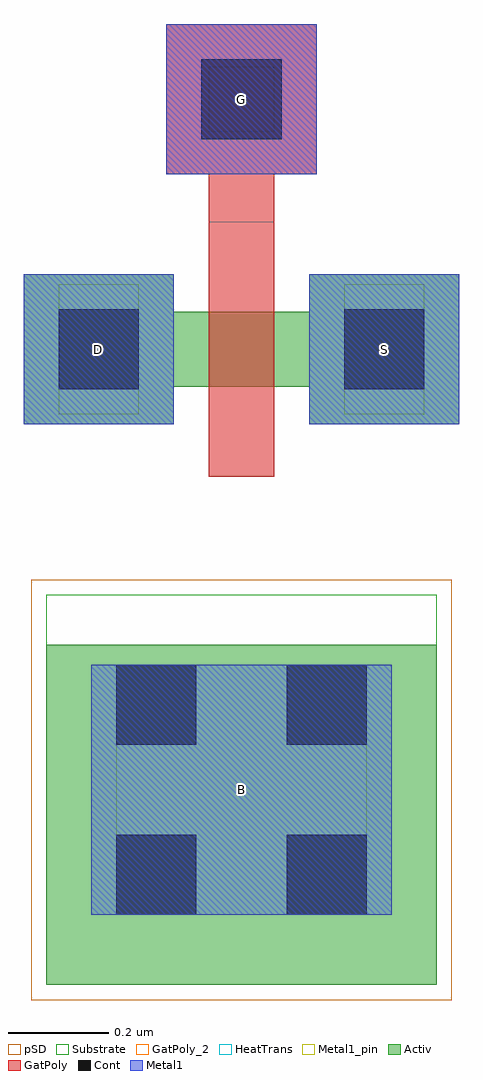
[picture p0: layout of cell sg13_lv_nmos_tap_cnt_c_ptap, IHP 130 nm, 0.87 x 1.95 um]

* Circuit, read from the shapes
.subckt sg13_lv_nmos_tap_cnt_c_ptap B D G S
XM1 S G D B sg13_lv_nmos w=0.15u l=0.13u
.ends

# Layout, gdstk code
from math import pi, radians
import gdstk
lib = gdstk.Library(unit=1e-6, precision=5e-09)
def R(c, l, rs):  # rectangles x0, y0, x1, y1
    for r in rs: c.add(gdstk.rectangle(r[:2], r[2:], *l))
Activ = (1, 0)
GatPoly = (5, 0)
GatPoly_2 = (5, 2)
Cont = (6, 0)
Metal1 = (8, 0)
Metal1_pin = (8, 2)
pSD = (14, 0)
Substrate = (40, 0)
HeatTrans = (51, 0)

nmos = lib.new_cell('nmos')
R(nmos, Activ, [(0,0,0.3,0.3), (0.57,0,0.87,0.3), (0,0.075,0.87,0.225)])
R(nmos, GatPoly, [(0.37,-0.105,0.5,0.405)])
R(nmos, GatPoly_2, [(0.37,-0.105,0.5,0.405)])
R(nmos, Cont, [(0.07,0.07,0.23,0.23), (0.64,0.07,0.8,0.23)])
R(nmos, Metal1, [(0.07,0.02,0.23,0.28), (0.64,0.02,0.8,0.28)])
R(nmos, Metal1_pin, [(0.07,0.02,0.23,0.28), (0.64,0.02,0.8,0.28)])
R(nmos, HeatTrans, [(0.37,-0.105,0.5,0.405)])
nmos.add(gdstk.Label('nmos', (0.435,0.15), layer=63, texttype=0))
nmos.add(gdstk.Label('nmos', (0.435,0.15), layer=51, texttype=0))

ptap1_cnt_c = lib.new_cell('ptap1_cnt_c')
R(ptap1_cnt_c, Activ, [(0.1,0,0.78,0.78)])
R(ptap1_cnt_c, Cont, [(0.14,0.14,0.3,0.3), (0.48,0.14,0.64,0.3), (0.14,0.48,0.3,0.64), (0.48,0.48,0.64,0.64)])
R(ptap1_cnt_c, Metal1, [(0.14,0.09,0.64,0.69), (0.14,0.14,0.64,0.64)])
R(ptap1_cnt_c, Metal1_pin, [(0.14,0.14,0.64,0.64)])
R(ptap1_cnt_c, pSD, [(-0.03,-0.03,0.81,0.81)])
R(ptap1_cnt_c, Substrate, [(0,0,0.78,0.78)])
ptap1_cnt_c.add(gdstk.Label('sub!', (0.39,0.01), layer=63, texttype=0))
ptap1_cnt_c.add(gdstk.Label('sub!', (0.39,0.01), layer=40, texttype=0))

via = lib.new_cell('Via')
R(via, GatPoly, [(-0.15,-0.15,0.15,0.15)])
R(via, Cont, [(-0.08,-0.08,0.08,0.08)])
R(via, Metal1, [(-0.13,-0.08,0.13,0.08)])

sg13_lv_nmos_tap_cnt_c_p = lib.new_cell('sg13_lv_nmos_tap_cnt_c_ptap')
R(sg13_lv_nmos_tap_cnt_c_p, GatPoly, [(0.37,0.405,0.5,0.5)])
R(sg13_lv_nmos_tap_cnt_c_p, Metal1, [(0,0,0.3,0.3), (0.57,0,0.87,0.3), (0.285,0.5,0.585,0.8)])
R(sg13_lv_nmos_tap_cnt_c_p, Metal1_pin, [(0.37,-0.795,0.5,-0.665), (0.085,0.085,0.215,0.215), (0.655,0.085,0.785,0.215), (0.37,0.585,0.5,0.715)])
sg13_lv_nmos_tap_cnt_c_p.add(gdstk.Reference(nmos, (0,0)))
sg13_lv_nmos_tap_cnt_c_p.add(gdstk.Reference(ptap1_cnt_c, (0.045,-0.34), rotation=3*pi/2))
sg13_lv_nmos_tap_cnt_c_p.add(gdstk.Reference(via, (0.435,0.65), rotation=3*pi/2))
sg13_lv_nmos_tap_cnt_c_p.add(gdstk.Label('G', (0.435,0.65), layer=8, texttype=25))
sg13_lv_nmos_tap_cnt_c_p.add(gdstk.Label('B', (0.435,-0.73), layer=8, texttype=25))
sg13_lv_nmos_tap_cnt_c_p.add(gdstk.Label('D', (0.15,0.15), layer=8, texttype=25))
sg13_lv_nmos_tap_cnt_c_p.add(gdstk.Label('S', (0.72,0.15), layer=8, texttype=25))

lib.write_gds('sg13_lv_nmos_tap_cnt_c_ptap.gds')
